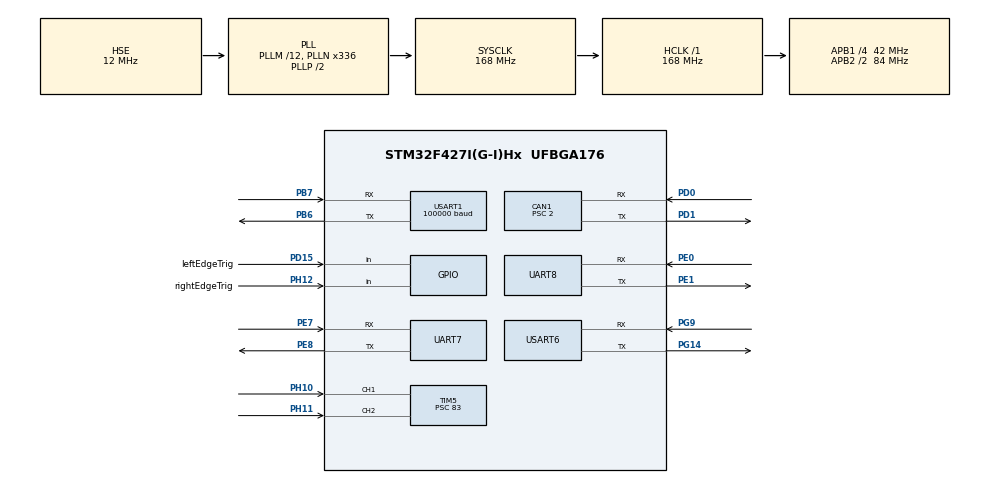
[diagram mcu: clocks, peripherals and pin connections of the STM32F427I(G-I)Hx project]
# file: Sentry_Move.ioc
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CAN1.BS1=CAN_BS1_14TQ
CAN1.BS2=CAN_BS2_6TQ
CAN1.CalculateTimeQuantum=47.61904761904762
CAN1.NART=ENABLE
CAN1.Prescaler=2
CAN1.TXFP=ENABLE
Dma.Request0=USART1_RX
Dma.Request1=USART6_RX
Dma.Request2=USART6_TX
Dma.Request3=UART8_RX
Dma.UART8_RX.3.Direction=DMA_PERIPH_TO_MEMORY
Dma.UART8_RX.3.FIFOMode=DMA_FIFOMODE_DISABLE
Dma.UART8_RX.3.Instance=DMA1_Stream6
Dma.UART8_RX.3.MemDataAlignment=DMA_MDATAALIGN_BYTE
Dma.UART8_RX.3.MemInc=DMA_MINC_ENABLE
Dma.UART8_RX.3.Mode=DMA_NORMAL
Dma.UART8_RX.3.PeriphDataAlignment=DMA_PDATAALIGN_BYTE
Dma.UART8_RX.3.PeriphInc=DMA_PINC_DISABLE
Dma.UART8_RX.3.Priority=DMA_PRIORITY_LOW
Dma.USART1_RX.0.Direction=DMA_PERIPH_TO_MEMORY
Dma.USART1_RX.0.FIFOMode=DMA_FIFOMODE_DISABLE
Dma.USART1_RX.0.Instance=DMA2_Stream2
Dma.USART1_RX.0.MemDataAlignment=DMA_MDATAALIGN_BYTE
Dma.USART1_RX.0.MemInc=DMA_MINC_ENABLE
Dma.USART1_RX.0.Mode=DMA_NORMAL
Dma.USART1_RX.0.PeriphDataAlignment=DMA_PDATAALIGN_BYTE
Dma.USART1_RX.0.PeriphInc=DMA_PINC_DISABLE
Dma.USART1_RX.0.Priority=DMA_PRIORITY_LOW
Dma.USART6_RX.1.Direction=DMA_PERIPH_TO_MEMORY
Dma.USART6_RX.1.FIFOMode=DMA_FIFOMODE_DISABLE
Dma.USART6_RX.1.Instance=DMA2_Stream1
Dma.USART6_RX.1.MemDataAlignment=DMA_MDATAALIGN_BYTE
Dma.USART6_RX.1.MemInc=DMA_MINC_ENABLE
Dma.USART6_RX.1.Mode=DMA_NORMAL
Dma.USART6_RX.1.PeriphDataAlignment=DMA_PDATAALIGN_BYTE
Dma.USART6_RX.1.PeriphInc=DMA_PINC_DISABLE
Dma.USART6_RX.1.Priority=DMA_PRIORITY_LOW
Dma.USART6_TX.2.Direction=DMA_MEMORY_TO_PERIPH
Dma.USART6_TX.2.FIFOMode=DMA_FIFOMODE_DISABLE
Dma.USART6_TX.2.Instance=DMA2_Stream6
Dma.USART6_TX.2.MemDataAlignment=DMA_MDATAALIGN_BYTE
Dma.USART6_TX.2.MemInc=DMA_MINC_ENABLE
Dma.USART6_TX.2.Mode=DMA_NORMAL
Dma.USART6_TX.2.PeriphDataAlignment=DMA_PDATAALIGN_BYTE
Dma.USART6_TX.2.PeriphInc=DMA_PINC_DISABLE
Dma.USART6_TX.2.Priority=DMA_PRIORITY_LOW
Mcu.Family=STM32F4
Mcu.Name=STM32F427I(G-I)Hx
Mcu.Package=UFBGA176
NVIC.CAN1_RX0_IRQn=true\:2\:2\:true\:false\:true\:true\:true
NVIC.DMA1_Stream6_IRQn=true\:0\:0\:false\:false\:true\:false\:true
NVIC.DMA2_Stream1_IRQn=true\:0\:0\:false\:false\:true\:false\:true
NVIC.DMA2_Stream2_IRQn=true\:1\:2\:true\:false\:true\:false\:true
NVIC.DMA2_Stream6_IRQn=true\:0\:0\:false\:false\:true\:false\:true
NVIC.PriorityGroup=NVIC_PRIORITYGROUP_2
NVIC.TIM5_IRQn=true\:0\:2\:true\:false\:true\:true\:true
NVIC.TIM6_DAC_IRQn=true\:1\:3\:true\:false\:true\:true\:true
NVIC.TIM7_IRQn=true\:2\:2\:true\:false\:true\:true\:true
NVIC.UART8_IRQn=true\:1\:2\:true\:false\:true\:true\:true
NVIC.USART1_IRQn=true\:1\:2\:true\:false\:true\:true\:true
NVIC.USART6_IRQn=true\:2\:2\:true\:false\:true\:true\:true
PB6.Mode=Multiprocessor_communication
PB6.Signal=USART1_TX
PB7.Mode=Multiprocessor_communication
PB7.Signal=USART1_RX
PD0.Mode=Master
PD0.Signal=CAN1_RX
PD1.Mode=Master
PD1.Signal=CAN1_TX
PD15.GPIO_Label=leftEdgeTrig
PD15.GPIO_PuPd=GPIO_PULLUP
PD15.Signal=GPIO_Input
PE0.Mode=Multiprocessor_communication
PE0.Signal=UART8_RX
PE1.Mode=Multiprocessor_communication
PE1.Signal=UART8_TX
PE7.Mode=Multiprocessor_communication
PE7.Signal=UART7_RX
PE8.Mode=Multiprocessor_communication
PE8.Signal=UART7_TX
PG14.Mode=Multiprocessor_communication
PG14.Signal=USART6_TX
PG9.Mode=Multiprocessor_communication
PG9.Signal=USART6_RX
PH0/OSC_IN.Mode=HSE-External-Oscillator
PH0/OSC_IN.Signal=RCC_OSC_IN
PH1/OSC_OUT.Mode=HSE-External-Oscillator
PH1/OSC_OUT.Signal=RCC_OSC_OUT
PH10.Signal=S_TIM5_CH1
PH11.Signal=S_TIM5_CH2
PH12.GPIO_Label=rightEdgeTrig
PH12.GPIO_PuPd=GPIO_PULLUP
PH12.Signal=GPIO_Input
ProjectManager.HeapSize=0x200
ProjectManager.StackSize=0x400
ProjectManager.TargetToolchain=MDK-ARM V5
RCC.48MHZClocksFreq_Value=84000000
RCC.AHBFreq_Value=168000000
RCC.APB1CLKDivider=RCC_HCLK_DIV4
RCC.APB1Freq_Value=42000000
RCC.APB1TimFreq_Value=84000000
RCC.APB2CLKDivider=RCC_HCLK_DIV2
RCC.APB2Freq_Value=84000000
RCC.APB2TimFreq_Value=168000000
RCC.CortexFreq_Value=168000000
RCC.HCLKFreq_Value=168000000
RCC.HSE_VALUE=12000000
RCC.HSI_VALUE=16000000
RCC.LSE_VALUE=32768
RCC.PLLM=12
RCC.PLLN=336
RCC.PLLSourceVirtual=RCC_PLLSOURCE_HSE
RCC.SYSCLKFreq_VALUE=168000000
RCC.SYSCLKSource=RCC_SYSCLKSOURCE_PLLCLK
RCC.VCOOutputFreq_Value=336000000
SH.S_TIM5_CH1.0=TIM5_CH1,Input_Capture1_from_TI1
SH.S_TIM5_CH2.0=TIM5_CH2,Input_Capture2_from_TI2
TIM5.Channel-Input_Capture1_from_TI1=TIM_CHANNEL_1
TIM5.Channel-Input_Capture2_from_TI2=TIM_CHANNEL_2
TIM5.Period=0xffffff
TIM5.Prescaler=83
TIM6.AutoReloadPreload=TIM_AUTORELOAD_PRELOAD_ENABLE
TIM6.Period=999
TIM6.Prescaler=83
TIM7.AutoReloadPreload=TIM_AUTORELOAD_PRELOAD_ENABLE
TIM7.Period=4999
TIM7.Prescaler=83
UART7.VirtualMode=Asynchronous
UART8.Parity=PARITY_NONE
UART8.VirtualMode=Asynchronous
USART1.BaudRate=100000
USART1.Mode=MODE_RX
USART1.Parity=PARITY_EVEN
USART1.VirtualMode=VM_ASYNC
USART6.VirtualMode=VM_ASYNC
VP_TIM6_VS_ClockSourceINT.Mode=Enable_Timer
VP_TIM7_VS_ClockSourceINT.Mode=Enable_Timer
board=custom

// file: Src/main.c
/* USER CODE BEGIN Header */
/**
  ******************************************************************************
  * @file           : main.c
  * @brief          : Main program body
  ******************************************************************************
  ** This notice applies to any and all portions of this file
  * that are not between comment pairs USER CODE BEGIN and
  * USER CODE END. Other portions of this file, whether
  * inserted by the user or by software development tools
  * are owned by their respective copyright owners.
  *
  * COPYRIGHT(c) 2019 STMicroelectronics
  *
  * Redistribution and use in source and binary forms, with or without modification,
  * are permitted provided that the following conditions are met:
  *   1. Redistributions of source code must retain the above copyright notice,
  *      this list of conditions and the following disclaimer.
  *   2. Redistributions in binary form must reproduce the above copyright notice,
  *      this list of conditions and the following disclaimer in the documentation
  *      and/or other materials provided with the distribution.
  *   3. Neither the name of STMicroelectronics nor the names of its contributors
  *      may be used to endorse or promote products derived from this software
  *      without specific prior written permission.
  *
  * THIS SOFTWARE IS PROVIDED BY THE COPYRIGHT HOLDERS AND CONTRIBUTORS "AS IS"
  * AND ANY EXPRESS OR IMPLIED WARRANTIES, INCLUDING, BUT NOT LIMITED TO, THE
  * IMPLIED WARRANTIES OF MERCHANTABILITY AND FITNESS FOR A PARTICULAR PURPOSE ARE
  * DISCLAIMED. IN NO EVENT SHALL THE COPYRIGHT HOLDER OR CONTRIBUTORS BE LIABLE
  * FOR ANY DIRECT, INDIRECT, INCIDENTAL, SPECIAL, EXEMPLARY, OR CONSEQUENTIAL
  * DAMAGES (INCLUDING, BUT NOT LIMITED TO, PROCUREMENT OF SUBSTITUTE GOODS OR
  * SERVICES; LOSS OF USE, DATA, OR PROFITS; OR BUSINESS INTERRUPTION) HOWEVER
  * CAUSED AND ON ANY THEORY OF LIABILITY, WHETHER IN CONTRACT, STRICT LIABILITY,
  * OR TORT (INCLUDING NEGLIGENCE OR OTHERWISE) ARISING IN ANY WAY OUT OF THE USE
  * OF THIS SOFTWARE, EVEN IF ADVISED OF THE POSSIBILITY OF SUCH DAMAGE.
  *
  ******************************************************************************
  */
/* USER CODE END Header */

#include "main.h"
#include "can.h"
#include "dma.h"
#include "tim.h"
#include "usart.h"
#include "gpio.h"

/* USER CODE BEGIN Includes */

#include "Remote_Comm.h"
#include "Referee_Comm.h"
#include "Master_Comm.h"
#include "Chassis_Ctrl.h"
#include "Sentry_Strategy.h"

/* USER CODE END Includes */

/* USER CODE BEGIN PV */
/* Private variables ---------------------------------------------------------*/

/* USER CODE END PV */

void SystemClock_Config(void);
/* USER CODE BEGIN PFP */
/* Private function prototypes -----------------------------------------------*/

/* USER CODE END PFP */

int main(void)
{

  /* MCU Configuration--------------------------------------------------------*/

  /* Reset of all peripherals, Initializes the Flash interface and the Systick. */
  HAL_Init();

  /* Configure the system clock */
  SystemClock_Config();

  /* Initialize all configured peripherals */
  MX_GPIO_Init();
  MX_DMA_Init();
  MX_CAN1_Init();
  MX_USART1_UART_Init();
  MX_UART7_Init();
  MX_UART8_Init();
  MX_USART6_UART_Init();
  MX_TIM6_Init();
  MX_TIM7_Init();
  MX_TIM5_Init();
  /* USER CODE BEGIN 2 */

	Chassis_CtrlInit(&sentryChassis);
	Loader_CtrlInit(&sentryLoader);
	Master_CommInit();
	Referee_SentryDataInit();
	Sentry_STInit(&sentryST);

 	RemoteCtl_Data_Receive_Start();
	Referee_Data_Receive_Start();
	Master_Data_Receive_Start();

	HAL_TIM_Base_Start_IT(&htim6);
	HAL_TIM_Base_Start_IT(&htim7);

	CAN_CommInit(&hcan1);
  /* USER CODE END 2 */

  /* Infinite loop */
  while (1)
  {

  }
}

void SystemClock_Config(void)
{
  RCC_OscInitTypeDef RCC_OscInitStruct = {0};
  RCC_ClkInitTypeDef RCC_ClkInitStruct = {0};

  /** Configure the main internal regulator output voltage
  */
  __HAL_RCC_PWR_CLK_ENABLE();
  __HAL_PWR_VOLTAGESCALING_CONFIG(PWR_REGULATOR_VOLTAGE_SCALE1);
  /** Initializes the CPU, AHB and APB busses clocks
  */
  RCC_OscInitStruct.OscillatorType = RCC_OSCILLATORTYPE_HSE;
  RCC_OscInitStruct.HSEState = RCC_HSE_ON;
  RCC_OscInitStruct.PLL.PLLState = RCC_PLL_ON;
  RCC_OscInitStruct.PLL.PLLSource = RCC_PLLSOURCE_HSE;
  RCC_OscInitStruct.PLL.PLLM = 12;
  RCC_OscInitStruct.PLL.PLLN = 336;
  RCC_OscInitStruct.PLL.PLLP = RCC_PLLP_DIV2;
  RCC_OscInitStruct.PLL.PLLQ = 4;
  if (HAL_RCC_OscConfig(&RCC_OscInitStruct) != HAL_OK)
  {
    Error_Handler();
  }
  /** Initializes the CPU, AHB and APB busses clocks
  */
  RCC_ClkInitStruct.ClockType = RCC_CLOCKTYPE_HCLK|RCC_CLOCKTYPE_SYSCLK
                              |RCC_CLOCKTYPE_PCLK1|RCC_CLOCKTYPE_PCLK2;
  RCC_ClkInitStruct.SYSCLKSource = RCC_SYSCLKSOURCE_PLLCLK;
  RCC_ClkInitStruct.AHBCLKDivider = RCC_SYSCLK_DIV1;
  RCC_ClkInitStruct.APB1CLKDivider = RCC_HCLK_DIV4;
  RCC_ClkInitStruct.APB2CLKDivider = RCC_HCLK_DIV2;

  if (HAL_RCC_ClockConfig(&RCC_ClkInitStruct, FLASH_LATENCY_5) != HAL_OK)
  {
    Error_Handler();
  }
}

void Error_Handler(void)
{
  while(1)
  {
  }
}

/************************ (C) COPYRIGHT STMicroelectronics *****END OF FILE****/
